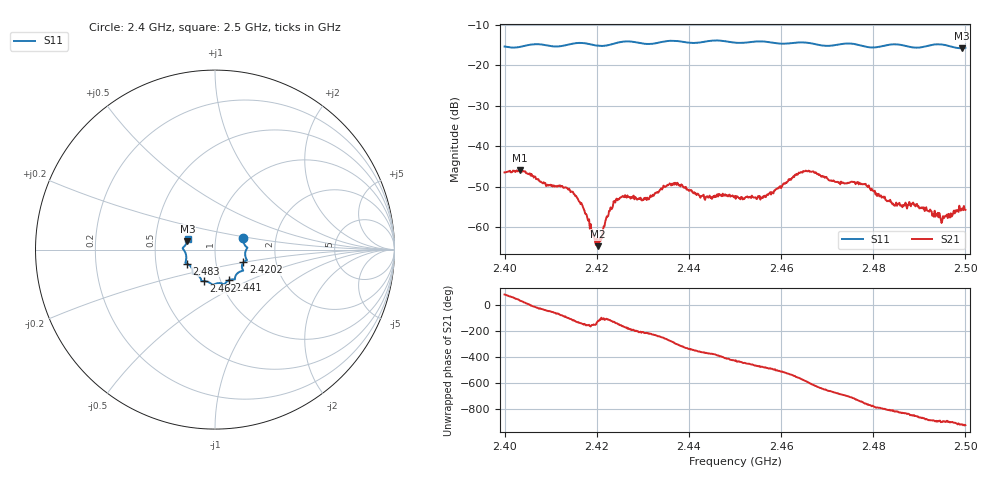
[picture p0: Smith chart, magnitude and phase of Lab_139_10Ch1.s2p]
# Hz S RI R 50
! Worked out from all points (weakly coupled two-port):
!   601 points, 2.4 GHz to 2.5 GHz, reference 50 ohm
!   highest |S21| = -45.91 dB at 2.4033 GHz (marker M1); lowest = -64.6 dB at 2.4203 GHz (marker M2)
!   lowest |S11| = -15.8 dB at 2.4992 GHz (marker M3), VSWR 1.39, Z = 36.5 + j3.66 ohm
!   |S11| at or under -10 dB: start of sweep to end of sweep
!   S12 and S22 are empty: the file has one direction only
!   S11 on the Smith chart (normalised r, x): 2.4 GHz: 1.36, +0.18; 2.4202 GHz: 1.36, -0.20; 2.441 GHz: 1.10, -0.39; 2.462 GHz: 0.84, -0.30; 2.483 GHz: 0.72, -0.11; 2.5 GHz: 0.73, +0.09
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2.4e9  0.1572 0.0628  0.000548 0.00472  0 0  0 0
2.403333e9  0.1657 0.0253  0.0041 0.00297  0 0  0 0
2.413667e9  0.1719 -0.0456  -0.000372 -0.00297  0 0  0 0
2.416667e9  0.1775 -0.0594  -0.0015 -0.00131  0 0  0 0
2.420167e9  0.1581 -0.0708  -0.000407 -0.000557  0 0  0 0
2.420333e9  0.1572 -0.0721  -0.000285 -0.000511  0 0  0 0
2.424167e9  0.1526 -0.1073  -0.00165 -0.00148  0 0  0 0
2.431e9  0.1268 -0.1304  -0.00193 0.00128  0 0  0 0
2.433333e9  0.1129 -0.1509  -0.00132 0.00233  0 0  0 0
2.437167e9  0.1085 -0.1664  0.00168 0.00305  0 0  0 0
2.441e9  0.0787 -0.1698  0.00254 0.00067  0 0  0 0
2.45e9  0.0285 -0.1868  0.000856 -0.00228  0 0  0 0
2.456e9  -0.0145 -0.1951  -0.00104 -0.00204  0 0  0 0
2.462e9  -0.0603 -0.1756  -0.00392 -0.0003  0 0  0 0
2.466667e9  -0.0772 -0.168  -0.00154 0.0046  0 0  0 0
2.478e9  -0.1259 -0.1152  0.00275 -0.00205  0 0  0 0
2.483e9  -0.1586 -0.0775  4.53e-05 -0.00209  0 0  0 0
2.483333e9  -0.1604 -0.0766  -3.95e-05 -0.00212  0 0  0 0
2.489e9  -0.1602 -0.0363  -0.00138 -0.00131  0 0  0 0
2.495e9  -0.1786 0.0106  -0.00122 5.05e-05  0 0  0 0
2.499167e9  -0.1539 0.0488  -0.00159 0.000583  0 0  0 0
2.5e9  -0.1518 0.0611  -0.00146 0.000759  0 0  0 0
